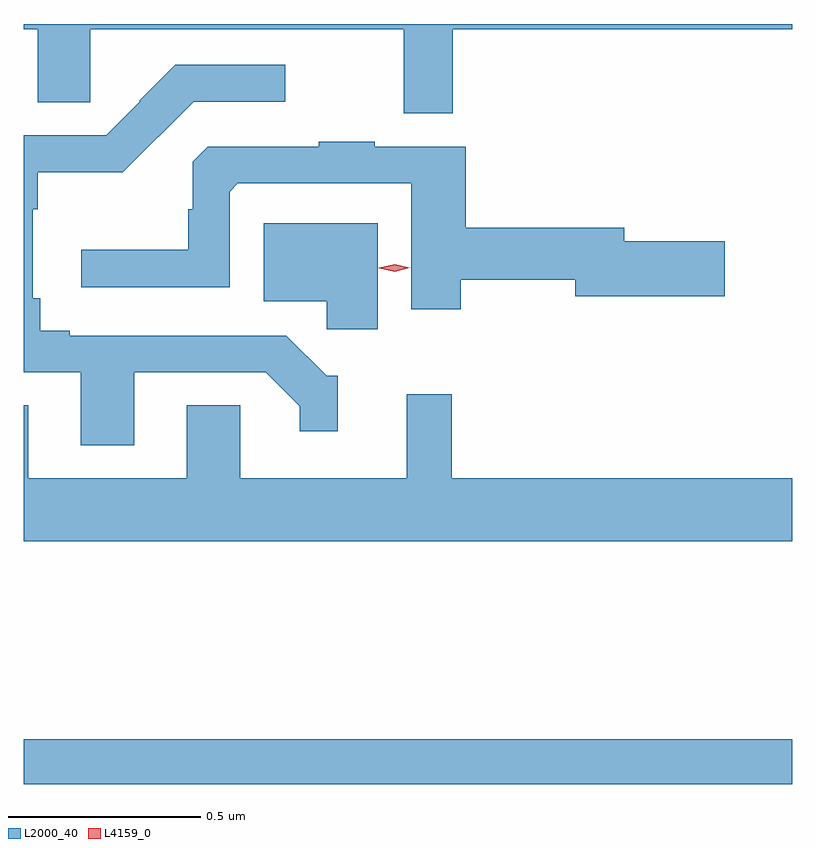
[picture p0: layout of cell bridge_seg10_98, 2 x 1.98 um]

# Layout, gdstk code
import gdstk
lib = gdstk.Library(unit=1e-6, precision=1e-09)
def R(c, l, rs):  # rectangles x0, y0, x1, y1
    for r in rs: c.add(gdstk.rectangle(r[:2], r[2:], *l))
def P(c, l, *ps):  # polygons
    for p in ps: c.add(gdstk.Polygon(p, *l))
L2000_40 = (2000, 40)
L4159_0 = (4159, 0)

bridge_seg10_98 = lib.new_cell('bridge_seg10_98')
R(bridge_seg10_98, L2000_40, [(529.543,1279.704,531.543,1279.82)])
P(bridge_seg10_98, L2000_40, [(530.66,1281.668),(531.543,1281.668),(531.543,1281.682),(529.543,1281.682),(529.543,1281.668),(529.579,1281.668),(529.579,1281.478),(529.716,1281.478),(529.716,1281.668),(530.532,1281.668),(530.532,1281.45),(530.66,1281.45)],
  [(529.831,1280.775),(530.173,1280.775),(530.261,1280.687),(530.261,1280.622),(530.36,1280.622),(530.36,1280.766),(530.331,1280.766),(530.226,1280.871),(529.663,1280.871),(529.663,1280.884),(529.586,1280.884),(529.586,1280.968),(529.566,1280.968),(529.566,1281.2),(529.579,1281.2),(529.579,1281.296),(529.801,1281.296),(529.986,1281.48),(530.224,1281.48),(530.224,1281.576),(529.937,1281.576),(529.843,1281.482),(529.845,1281.48),(529.758,1281.393),(529.543,1281.393),(529.543,1280.775),(529.691,1280.775),(529.691,1280.586),(529.831,1280.586)],
  [(530.68,1281.016),(530.978,1281.016),(530.978,1280.974),(531.367,1280.974),(531.367,1281.116),(531.106,1281.116),(531.106,1281.152),(530.693,1281.152),(530.693,1281.363),(530.456,1281.363),(530.456,1281.376),(530.311,1281.376),(530.311,1281.363),(530.022,1281.363),(529.983,1281.324),(529.983,1281.2),(529.971,1281.2),(529.971,1281.095),(529.692,1281.095),(529.692,1280.997),(530.079,1280.997),(530.079,1281.246),(530.1,1281.267),(530.552,1281.267),(530.552,1280.94),(530.68,1280.94)],
  [(530.464,1281.163),(530.168,1281.163),(530.168,1280.96),(530.332,1280.96),(530.332,1280.888),(530.464,1280.888)],
  [(531.543,1280.5),(530.657,1280.5),(530.657,1280.719),(530.54,1280.719),(530.54,1280.5),(530.106,1280.5),(530.106,1280.69),(529.967,1280.69),(529.967,1280.5),(529.555,1280.5),(529.555,1280.69),(529.543,1280.69),(529.543,1280.336),(531.543,1280.336)])
P(bridge_seg10_98, L4159_0, [(530.508,1281.037),(530.468,1281.046),(530.467,1281.047),(530.468,1281.047),(530.508,1281.057),(530.548,1281.047),(530.548,1281.047),(530.548,1281.047)])

lib.write_gds('bridge_seg10_98.gds')
